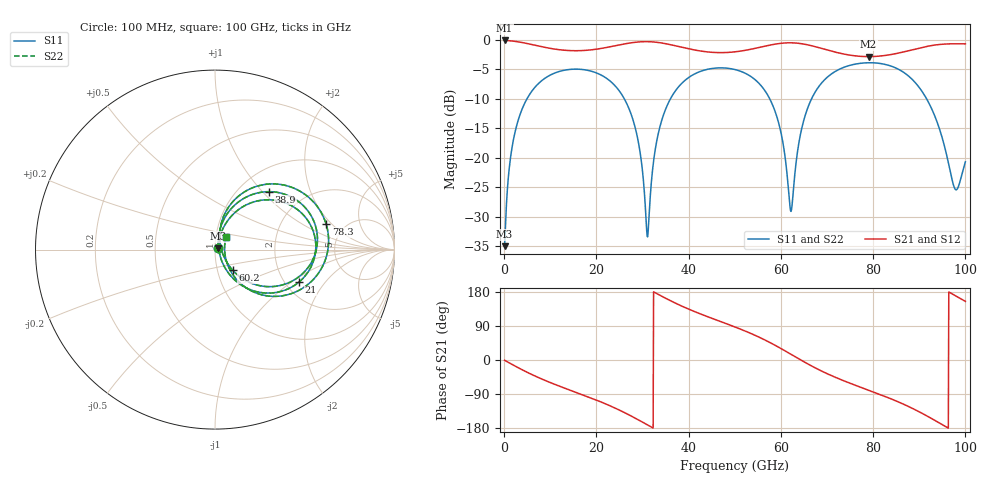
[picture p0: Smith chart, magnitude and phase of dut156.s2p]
! Touchstone file exported from HFSS 2026.1.0
!  File:  C:/ffzhzh/LocalFiles/Ansys_Project_Files/temp_test_TSV_RDL_156_1783464787_28540.aedt
!  Generated:  07:01:30 AM Jul  8, 2026
!  Design:  TSV_RDL
!  Project:  temp_test_TSV_RDL_156_1783464787_28540
! Variables:
!  h_bsmrdl = 4.13um
!  h_ox = 20um
!  h_rdl = 5um
!  h_sub = 72.64um
!  h_tmrdl = 2.07um
!  h_tsv = 72.64um
!  h_via = 3um
!  l_bsmrdl = 230.7um
!  l_sub = 1652.77um
!  l_tmrdl = 125.07um
!  m_sub = 200um
!  pitch = 49.91um
!  r_tsv = 11.08um
!  s_tmrdl = 10um
!  w_bsmrdl = 10.09um
!  w_sub = 500um
!  w_tmrdl = 10.04um
!  x_tsv_center1 = 130.09um
!  x_tsv_center2 = 370.88um
!  x_tsv_center3 = 505.99um
!  x_tsv_center4 = 746.78um
!  x_tsv_center5 = 881.89um
!  x_tsv_center6 = 1122.68um
# GHz S MA R 50.000000
! Terminal data exported
! Port[1] = TM_RDL1_1_T1
! Port[2] = TM_RDL5_1_T1
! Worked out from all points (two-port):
!   1000 points, 100 MHz to 100 GHz, reference 50 ohm
!   highest |S21| = -0.14 dB at 100 MHz (marker M1); lowest = -2.9 dB at 79 GHz (marker M2)
!   |S21| within 3 dB of the highest: start of sweep to end of sweep
!   lowest |S11| = -35.0 dB at 100 MHz (marker M3), VSWR 1.04, Z = 51.6 + j0.751 ohm
!   |S11| at or under -10 dB: 26.02 GHz to 36.08 GHz (10.06 GHz wide, 32.4 % of centre); 57.55 GHz to 66.67 GHz (9.12 GHz wide, 14.7 % of centre); 91.56 GHz to end of sweep (the widest 3 of 4)
!   |S22| runs from -35.0 to -3.9 dB; largest |S21 - S12| = 3.6e-13
!   S11 on the Smith chart (normalised r, x): 100 MHz: 1.03, +0.02; 21 GHz: 2.37, -1.15; 38.9 GHz: 1.36, +1.09; 60.2 GHz: 1.18, -0.28; 78.3 GHz: 3.60, +1.73; 100 GHz: 1.12, +0.16
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0.1  0.01773 24.2  0.9839 -0.7  0.9839 -0.7  0.01773 24.2
! Gamma 0 0 0 0
! Port Impedance 50 0 50 0
1.7  0.1211 69.4  0.9737 -11.6  0.9737 -11.6  0.1211 69.4
4.4  0.2859 56.9  0.9369 -28.8  0.9369 -28.8  0.2859 56.9
16.8  0.5591 -2.2  0.8072 -90.9  0.8072 -90.9  0.5591 -2.2
21  0.5014 -21.2  0.8414 -110.8  0.8414 -110.8  0.5014 -21.2
27.9  0.2109 -56.3  0.944 -150.1  0.944 -150.1  0.211 -56.4
29.5  0.1092 -61.1  0.9578 -160.6  0.9578 -160.6  0.1092 -61.4
31  0.02172 -5.2  0.9611 -170.7  0.9611 -170.7  0.02131 -5.6
33.4  0.1588 74.5  0.9458 173.2  0.9458 173.2  0.1587 74.6
38.9  0.4405 47.1  0.8547 140.1  0.8547 140.1  0.4405 47.1
50.1  0.5568 -3.1  0.7884 86.9  0.7884 86.9  0.5568 -3.1
56.5  0.3707 -33.8  0.8795 53.1  0.8795 53.1  0.3707 -33.9
60.2  0.1501 -49.3  0.9323 29.0  0.9323 29.0  0.15 -49.5
62.2  0.03495 15.8  0.9398 15.0  0.9398 15.0  0.03452 15.8
64.2  0.1544 76.5  0.9268 0.8  0.9268 0.8  0.1543 76.7
66.7  0.3178 66.9  0.8867 -16.0  0.8867 -16.0  0.3178 66.9
78.3  0.6352 13.0  0.7183 -76.5  0.7183 -76.5  0.6352 13.0
79  0.6367 10.1  0.7177 -79.6  0.7177 -79.6  0.6367 10.1
83.4  0.6048 -9.3  0.7419 -100.1  0.7419 -100.1  0.6049 -9.3
91.8  0.3042 -48.8  0.8782 -148.5  0.8782 -148.5  0.3042 -48.8
97.8  0.05386 -6.1  0.9219 169.7  0.9219 169.7  0.05428 -6.2
100  0.09208 48.8  0.9204 154.8  0.9204 154.8  0.09223 48.5
